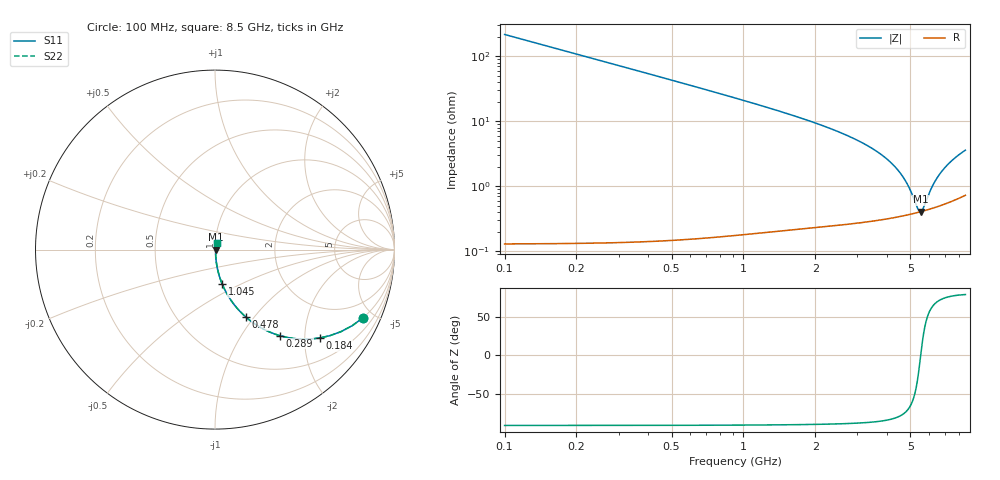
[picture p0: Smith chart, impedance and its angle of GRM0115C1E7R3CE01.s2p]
!Murata Part Number: GRM0115C1E7R3CE01
!These Parameters are Measured in Series Mode Connection
!Data Generated on Mar 30, 2021
!  o--ll--o
!Port1  Port2
!  o------o
!Operation Temp=25[degC], DC Bias Voltage=0[V]
!Freq. Start=100[MHz] Stop=9[GHz] 401[Steps]
# Hz S RI R 50
!Freq.(Hz) S11(Real) S11(Imag) S21(Real) S21(Imag) S12(Real) S12(Imag) S22(Real) S22(Imag)
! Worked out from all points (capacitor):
!   401 points, 100 MHz to 8.5 GHz, reference 50 ohm
!   read as one part in series: C = 7.3 pF near 142 MHz
!   lowest |Z| = 405 mohm at 5.518 GHz (marker M1)
!   series resonance near 5.523 GHz, so ESL is about 110 pH
!   S11 on the Smith chart (normalised r, x): 100 MHz: 1.00, -4.36; 184 MHz: 1.00, -2.37; 289 MHz: 1.00, -1.50; 478 MHz: 1.00, -0.90; 1.045 GHz: 1.00, -0.40; 8.5 GHz: 1.01, +0.07
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1e8  0.8259 -0.3789  0.1741 0.3789  0.1741 0.3789  0.8259 -0.3789
1.84e8  0.5833 -0.4925  0.4167 0.4925  0.4167 0.4925  0.5833 -0.4925
2.89e8  0.3615 -0.4795  0.6385 0.4795  0.6385 0.4795  0.3615 -0.4795
3.73e8  0.2532 -0.4337  0.7468 0.4337  0.7468 0.4337  0.2532 -0.4337
4.78e8  0.1707 -0.3746  0.8293 0.3746  0.8293 0.3746  0.1707 -0.3746
7.09e8  0.0848 -0.276  0.9152 0.276  0.9152 0.276  0.0848 -0.276
1.045e9  0.0403 -0.1923  0.9597 0.1923  0.9597 0.1923  0.0403 -0.1923
1.507e9  0.0195 -0.1306  0.9805 0.1306  0.9805 0.1306  0.0195 -0.1306
2.914e9  0.00553 -0.0534  0.9945 0.0534  0.9945 0.0534  0.00553 -0.0534
3.733e9  0.004 -0.0314  0.996 0.0314  0.996 0.0314  0.004 -0.0314
4.3e9  0.00368 -0.0198  0.9963 0.0198  0.9963 0.0198  0.00368 -0.0198
4.783e9  0.00369 -0.0113  0.9963 0.0113  0.9963 0.0113  0.00369 -0.0113
5.014e9  0.00376 -0.00758  0.9962 0.00758  0.9962 0.00758  0.00376 -0.00758
5.371e9  0.00394 -0.00218  0.9961 0.00218  0.9961 0.00218  0.00394 -0.00218
5.518e9  0.00404 -6.64e-05  0.996 6.64e-05  0.996 6.64e-05  0.00404 -6.64e-05
5.707e9  0.00418 0.00257  0.9958 -0.00257  0.9958 -0.00257  0.00418 0.00257
6.022e9  0.00447 0.00679  0.9955 -0.00679  0.9955 -0.00679  0.00447 0.00679
6.316e9  0.00478 0.0105  0.9952 -0.0105  0.9952 -0.0105  0.00478 0.0105
6.673e9  0.00522 0.0149  0.9948 -0.0149  0.9948 -0.0149  0.00522 0.0149
7.114e9  0.00585 0.02  0.9942 -0.02  0.9942 -0.02  0.00585 0.02
7.744e9  0.0069 0.0269  0.9931 -0.0269  0.9931 -0.0269  0.0069 0.0269
8.5e9  0.00843 0.0347  0.9916 -0.0347  0.9916 -0.0347  0.00843 0.0347
